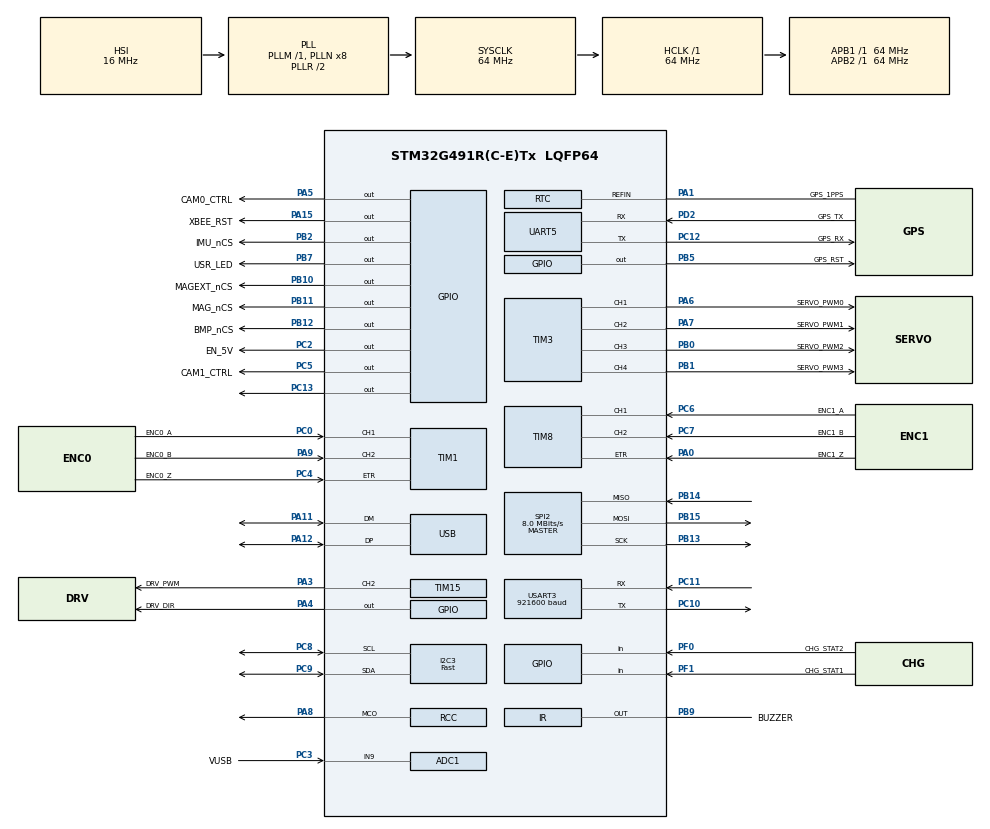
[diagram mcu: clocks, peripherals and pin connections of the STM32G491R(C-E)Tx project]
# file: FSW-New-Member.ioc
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ADC1.Channel-1\#ChannelRegularConversion=ADC_CHANNEL_9
ADC1.NbrOfConversionFlag=1
ADC1.OffsetNumber-1\#ChannelRegularConversion=ADC_OFFSET_NONE
ADC1.Rank-1\#ChannelRegularConversion=1
ADC1.SamplingTime-1\#ChannelRegularConversion=ADC_SAMPLETIME_2CYCLES_5
ADC1.master=1
FREERTOS.BinarySemaphores01=globalData,Dynamic,NULL,Available
FREERTOS.Tasks01=readSensors,0,512,StartReadSensors,Default,NULL,Dynamic,NULL,NULL;Comms,-3,512,StartComms,Default,NULL,Dynamic,NULL,NULL
FREERTOS.configMINIMAL_STACK_SIZE=128
FREERTOS.configTOTAL_HEAP_SIZE=5200
I2C3.I2C_Speed_Mode=I2C_Fast
I2C3.Timing=0x00C12166
Mcu.Family=STM32G4
Mcu.Name=STM32G491R(C-E)Tx
Mcu.Package=LQFP64
Mcu.UserConstants=T4_PRE,7199;T4_CNT,9999;PWM_1,4999;CONST,1
NVIC.PriorityGroup=NVIC_PRIORITYGROUP_4
NVIC.TIM6_DAC_IRQn=true\:15\:0\:false\:false\:true\:false\:false\:true\:true
NVIC.TimeBase=TIM6_DAC_IRQn
NVIC.TimeBaseIP=TIM6
NVIC.USART3_IRQn=true\:14\:0\:true\:false\:true\:true\:true\:true\:true
NVIC.USB_LP_IRQn=true\:5\:0\:false\:false\:true\:true\:false\:true\:true
PA0.GPIO_Label=ENC1_Z
PA0.Signal=S_TIM8_ETR
PA1.GPIO_Label=GPS_1PPS
PA1.Mode=Reference_Clock_Detection_Activate
PA1.Signal=RTC_REFIN
PA11.Mode=Device
PA11.Signal=USB_DM
PA12.Mode=Device
PA12.Signal=USB_DP
PA13.GPIO_Label=SWDIO
PA13.Mode=Trace_Asynchronous_SW
PA13.Signal=SYS_JTMS-SWDIO
PA14.GPIO_Label=SWCLK
PA14.Mode=Trace_Asynchronous_SW
PA14.Signal=SYS_JTCK-SWCLK
PA15.GPIO_Label=XBEE_RST
PA15.Signal=GPIO_Output
PA2.GPIO_Label=CLK_32K
PA2.Mode=Clock-out-LSCO
PA2.Signal=RCC_LSCO
PA3.GPIO_Label=DRV_PWM
PA3.Signal=S_TIM15_CH2
PA4.GPIO_Label=DRV_DIR
PA4.Signal=GPIO_Output
PA5.GPIO_Label=CAM0_CTRL
PA5.Signal=GPIO_Output
PA6.GPIO_Label=SERVO_PWM0
PA6.Signal=S_TIM3_CH1
PA7.GPIO_Label=SERVO_PWM1
PA7.Signal=S_TIM3_CH2
PA8.Mode=Clock-out
PA8.Signal=RCC_MCO
PA9.GPIO_Label=ENC0_B
PA9.Signal=S_TIM1_CH2
PB0.GPIO_Label=SERVO_PWM2
PB0.Signal=S_TIM3_CH3
PB1.GPIO_Label=SERVO_PWM3
PB1.Signal=S_TIM3_CH4
PB10.GPIO_Label=MAGEXT_nCS
PB10.Signal=GPIO_Output
PB11.GPIO_Label=MAG_nCS
PB11.Signal=GPIO_Output
PB12.GPIO_Label=BMP_nCS
PB12.Signal=GPIO_Output
PB13.Mode=Full_Duplex_Master
PB13.Signal=SPI2_SCK
PB14.Mode=Full_Duplex_Master
PB14.Signal=SPI2_MISO
PB15.Mode=Full_Duplex_Master
PB15.Signal=SPI2_MOSI
PB2.GPIO_Label=IMU_nCS
PB2.Signal=GPIO_Output
PB3.GPIO_Label=SWO
PB3.Mode=Trace_Asynchronous_SW
PB3.Signal=SYS_JTDO-SWO
PB4.Signal=UCPD1_CC2
PB5.GPIO_Label=GPS_RST
PB5.GPIO_ModeDefaultOutputPP=GPIO_MODE_OUTPUT_OD
PB5.GPIO_PuPd=GPIO_NOPULL
PB5.Signal=GPIO_Output
PB6.Signal=UCPD1_CC1
PB7.GPIO_Label=USR_LED
PB7.Signal=GPIO_Output
PB9.GPIO_FM9=SYSCFG_FASTMODEPLUS_PB9
PB9.GPIO_Label=BUZZER
PB9.Mode=INFRARED
PB9.Signal=IR_OUT
PC0.GPIO_Label=ENC0_A
PC0.Signal=S_TIM1_CH1
PC10.Mode=Asynchronous
PC10.Signal=USART3_TX
PC11.Mode=Asynchronous
PC11.Signal=USART3_RX
PC12.GPIO_Label=GPS_RX
PC12.Mode=Asynchronous
PC12.Signal=UART5_TX
PC13.Signal=GPIO_Output
PC14-OSC32_IN.GPIO_Label=OSC32_IN
PC14-OSC32_IN.Mode=LSE-External-Oscillator
PC14-OSC32_IN.Signal=RCC_OSC32_IN
PC15-OSC32_OUT.GPIO_Label=OSC32_OUT
PC15-OSC32_OUT.Mode=LSE-External-Oscillator
PC15-OSC32_OUT.Signal=RCC_OSC32_OUT
PC2.GPIO_Label=EN_5V
PC2.Signal=GPIO_Output
PC3.GPIO_Label=VUSB
PC3.Mode=IN9-Single-Ended
PC3.Signal=ADC1_IN9
PC4.GPIO_Label=ENC0_Z
PC4.Signal=S_TIM1_ETR
PC5.GPIO_Label=CAM1_CTRL
PC5.Signal=GPIO_Output
PC6.GPIO_Label=ENC1_A
PC6.Signal=S_TIM8_CH1
PC7.GPIO_Label=ENC1_B
PC7.Signal=S_TIM8_CH2
PC8.Mode=I2C
PC8.Signal=I2C3_SCL
PC9.Mode=I2C
PC9.Signal=I2C3_SDA
PD2.GPIO_Label=GPS_TX
PD2.Mode=Asynchronous
PD2.Signal=UART5_RX
PF0-OSC_IN.GPIO_Label=CHG_STAT2
PF0-OSC_IN.Signal=GPIO_Input
PF1-OSC_OUT.GPIO_Label=CHG_STAT1
PF1-OSC_OUT.Signal=GPIO_Input
ProjectManager.HeapSize=0xF00
ProjectManager.StackSize=0x600
ProjectManager.TargetToolchain=STM32CubeIDE
RCC.ADC12Freq_Value=64000000
RCC.ADC345Freq_Value=64000000
RCC.AHBFreq_Value=64000000
RCC.APB1Freq_Value=64000000
RCC.APB1TimFreq_Value=64000000
RCC.APB2Freq_Value=64000000
RCC.APB2TimFreq_Value=64000000
RCC.CortexFreq_Value=64000000
RCC.EXTERNAL_CLOCK_VALUE=12288000
RCC.HCLKFreq_Value=64000000
RCC.HSE_VALUE=8000000
RCC.HSI48_VALUE=48000000
RCC.HSI_VALUE=16000000
RCC.LSCOSource1=RCC_LSCOSOURCE_LSE
RCC.SYSCLKFreq_VALUE=64000000
RCC.SYSCLKSource=RCC_SYSCLKSOURCE_PLLCLK
RCC.USBFreq_Value=48000000
RCC.VCOOutputFreq_Value=128000000
SH.S_TIM15_CH2.0=TIM15_CH2,PWM Generation2 CH2
SH.S_TIM1_CH1.0=TIM1_CH1,Encoder_Interface_w_index
SH.S_TIM1_CH2.0=TIM1_CH2,Encoder_Interface_w_index
SH.S_TIM1_ETR.0=TIM1_ETR,Encoder_Interface_w_index
SH.S_TIM3_CH1.0=TIM3_CH1,PWM Generation1 CH1
SH.S_TIM3_CH2.0=TIM3_CH2,PWM Generation2 CH2
SH.S_TIM3_CH3.0=TIM3_CH3,PWM Generation3 CH3
SH.S_TIM3_CH4.0=TIM3_CH4,PWM Generation4 CH4
SH.S_TIM8_CH1.0=TIM8_CH1,Encoder_Interface_w_index
SH.S_TIM8_CH2.0=TIM8_CH2,Encoder_Interface_w_index
SH.S_TIM8_ETR.0=TIM8_ETR,Encoder_Interface_w_index
SPI2.BaudRatePrescaler=SPI_BAUDRATEPRESCALER_8
SPI2.CalculateBaudRate=8.0 MBits/s
SPI2.DataSize=SPI_DATASIZE_8BIT
SPI2.Direction=SPI_DIRECTION_2LINES
SPI2.Mode=SPI_MODE_MASTER
SPI2.VirtualType=VM_MASTER
TIM15.Channel-PWM\ Generation2\ CH2=TIM_CHANNEL_2
TIM16.Channel=TIM_CHANNEL_1
TIM17.Channel=TIM_CHANNEL_1
TIM3.Channel-PWM\ Generation1\ CH1=TIM_CHANNEL_1
TIM3.Channel-PWM\ Generation2\ CH2=TIM_CHANNEL_2
TIM3.Channel-PWM\ Generation3\ CH3=TIM_CHANNEL_3
TIM3.Channel-PWM\ Generation4\ CH4=TIM_CHANNEL_4
USART3.BaudRate=921600
USART3.VirtualMode-Asynchronous=VM_ASYNC
USB.battery_charging_enable=ENABLE
USB_DEVICE.CLASS_NAME_FS=DFU
USB_DEVICE.VirtualMode=Dfu
USB_DEVICE.VirtualModeFS=Dfu_FS
USB_Device.BSP.number=1
USB_Device0.BSP.STBoard=false
USB_Device0.BSP.api=Unknown
USB_Device0.BSP.condition=SEM_BCD_ENABLED
USB_Device0.BSP.instance=PF1-OSC_OUT
USB_Device0.BSP.ip=GPIO
USB_Device0.BSP.mode=Input
USB_Device0.BSP.name=BCD Detection
USB_Device0.BSP.solution=PF1-OSC_OUT
VP_ADC1_TempSens_Input.Mode=IN-TempSens
VP_ADC1_Vbat_Input.Mode=IN-Vbat
VP_ADC1_Vref_Input.Mode=IN-Vrefint
VP_CORDIC_VS_CORDIC.Mode=CORDIC_Activate
VP_FMAC_VS_FMAC.Mode=FMAC_Activate
VP_FREERTOS_VS_CMSIS_V1.Mode=CMSIS_V1
VP_RCC_VS_LSE.Mode=CRS SYNC Source LSE
VP_RNG_VS_RNG.Mode=RNG_Activate
VP_RTC_VS_RTC_Activate.Mode=RTC_Enabled
VP_SYS_VS_DBSignals.Mode=DisableDeadBatterySignals
VP_SYS_VS_tim6.Mode=TIM6
VP_SYS_V_PVD_IN.Mode=Mode_PVD_Int
VP_SYS_V_VREFBUF.Mode=ExternalMode
VP_TIM16_VS_ClockSourceINT.Mode=Enable_Timer
VP_TIM16_VS_no_output1.Mode=PWM Generation1 No Output
VP_TIM17_VS_ClockSourceINT.Mode=Enable_Timer
VP_TIM17_VS_no_output1.Mode=PWM Generation1 No Output
VP_TIM3_VS_ClockSourceINT.Mode=Internal
VP_USB_DEVICE_VS_USB_DEVICE_DFU_FS.Mode=DFU_FS
board=custom

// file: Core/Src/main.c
/* USER CODE BEGIN Header */
/**
 ******************************************************************************
 * @file           : main.c
 * @brief          : Main program body
 ******************************************************************************
 * @attention
 *
 * Copyright (c) 2025 STMicroelectronics.
 * All rights reserved.
 *
 * This software is licensed under terms that can be found in the LICENSE file
 * in the root directory of this software component.
 * If no LICENSE file comes with this software, it is provided AS-IS.
 *
 ******************************************************************************
 */
/* USER CODE END Header */
#include "main.h"
#include "cmsis_os.h"
#include "usb_device.h"

/* USER CODE BEGIN Includes */
#include "global.h"
// #include "commands.h"
#include "uart_interrupt.h"

#include "../../Drivers/MS5607/MS5607SPI.h"
#include "../../Drivers/BMM150/BMM150SPI.h"
#include "../../Drivers/LC76G/LC76G.h"
#include "../../Drivers/AMT10E2/AMT10E2.h"
#include "../../Drivers/BQ28Z610/BQ28Z610I2C.h"
#include "../../Drivers/DRV8838/DRV8838.h"

/* USER CODE END Includes */

ADC_HandleTypeDef hadc1;

CORDIC_HandleTypeDef hcordic;

FMAC_HandleTypeDef hfmac;

I2C_HandleTypeDef hi2c3;

RNG_HandleTypeDef hrng;

RTC_HandleTypeDef hrtc;

SPI_HandleTypeDef hspi2;

TIM_HandleTypeDef htim1;
TIM_HandleTypeDef htim3;
TIM_HandleTypeDef htim8;
TIM_HandleTypeDef htim15;
TIM_HandleTypeDef htim16;
TIM_HandleTypeDef htim17;

UART_HandleTypeDef huart5;
UART_HandleTypeDef huart3;

osThreadId readSensorsHandle;
osThreadId CommsHandle;
osSemaphoreId globalDataHandle;

void SystemClock_Config(void);
static void MX_GPIO_Init(void);
static void MX_ADC1_Init(void);
static void MX_I2C3_Init(void);
static void MX_IRTIM_Init(void);
static void MX_RTC_Init(void);
static void MX_SPI2_Init(void);
static void MX_TIM1_Init(void);
static void MX_TIM3_Init(void);
static void MX_TIM8_Init(void);
static void MX_TIM15_Init(void);
static void MX_TIM16_Init(void);
static void MX_TIM17_Init(void);
static void MX_UART5_Init(void);
static void MX_RNG_Init(void);
static void MX_USART3_UART_Init(void);
static void MX_CORDIC_Init(void);
static void MX_FMAC_Init(void);
void StartReadSensors(void const * argument);
void StartComms(void const * argument);

int main(void)
{

  /* MCU Configuration--------------------------------------------------------*/

  /* Reset of all peripherals, Initializes the Flash interface and the Systick. */
  HAL_Init();

  /* Configure the system clock */
  SystemClock_Config();

  /* Initialize all configured peripherals */
  MX_GPIO_Init();
  MX_ADC1_Init();
  MX_I2C3_Init();
  MX_IRTIM_Init();
  MX_RTC_Init();
  MX_SPI2_Init();
  MX_TIM1_Init();
  MX_TIM3_Init();
  MX_TIM8_Init();
  MX_TIM15_Init();
  MX_TIM16_Init();
  MX_TIM17_Init();
  MX_UART5_Init();
  MX_RNG_Init();
  MX_USART3_UART_Init();
  MX_CORDIC_Init();
  MX_FMAC_Init();
  /* USER CODE BEGIN 2 */
  // Feedback LED
  HAL_GPIO_WritePin(USR_LED_GPIO_Port, USR_LED_Pin, GPIO_PIN_SET);

  // Enable GPS and XBEE
  HAL_GPIO_WritePin(XBEE_RST_GPIO_Port, XBEE_RST_Pin, GPIO_PIN_SET);
  HAL_GPIO_WritePin(GPS_RST_GPIO_Port, GPS_RST_Pin, GPIO_PIN_SET);
  HAL_Delay(3000); // wait for the Xbee to get brought back up again

  // Disable ALL chip selects
  HAL_GPIO_WritePin(IMU_nCS_GPIO_Port, IMU_nCS_Pin, GPIO_PIN_SET);
  HAL_GPIO_WritePin(BMP_nCS_GPIO_Port, BMP_nCS_Pin, GPIO_PIN_SET);
  HAL_GPIO_WritePin(MAG_nCS_GPIO_Port, MAG_nCS_Pin, GPIO_PIN_SET);
  HAL_GPIO_WritePin(MAGEXT_nCS_GPIO_Port, MAGEXT_nCS_Pin, GPIO_PIN_SET);

  // Initialize ICM42688P (IMU)
  ICM42688P_init(&hspi2, IMU_nCS_GPIO_Port, IMU_nCS_Pin);

  // Initialize pressure sensor (MS5607)
  MS5607_Init(&hspi2, BMP_nCS_GPIO_Port, BMP_nCS_Pin);

  // Initialize magnetometer (BMM150)
  struct bmm150_dev bmm150 = BMM150_spi_init(&hspi2, MAG_nCS_GPIO_Port, MAG_nCS_Pin);

  // Initialize GPS (LC76G)
  LC76G_init();

  // Initialize quadrature encoder (AMT10E2)
  QENC_Init_Encoder0();

  // drv8838_init(&htim15, DRV_DIR_GPIO_Port, DRV_DIR_Pin);

  /* USER CODE END 2 */

  /* Create the semaphores(s) */
  /* definition and creation of globalData */
  osSemaphoreDef(globalData);
  globalDataHandle = osSemaphoreCreate(osSemaphore(globalData), 1);

  /* Create the thread(s) */
  /* definition and creation of readSensors */
  osThreadDef(readSensors, StartReadSensors, osPriorityNormal, 0, 512);
  readSensorsHandle = osThreadCreate(osThread(readSensors), NULL);

  /* definition and creation of Comms */
  osThreadDef(Comms, StartComms, osPriorityIdle, 0, 512);
  CommsHandle = osThreadCreate(osThread(Comms), NULL);

  /* Start scheduler */
  osKernelStart();

  /* We should never get here as control is now taken by the scheduler */

  /* Infinite loop */
  while (1)
  {

  }
}

void SystemClock_Config(void)
{
  RCC_OscInitTypeDef RCC_OscInitStruct = {0};
  RCC_ClkInitTypeDef RCC_ClkInitStruct = {0};
  RCC_CRSInitTypeDef pInit = {0};

  /** Configure the main internal regulator output voltage
  */
  HAL_PWREx_ControlVoltageScaling(PWR_REGULATOR_VOLTAGE_SCALE1);

  /** Configure LSE Drive Capability
  */
  HAL_PWR_EnableBkUpAccess();
  __HAL_RCC_LSEDRIVE_CONFIG(RCC_LSEDRIVE_LOW);

  /** Initializes the RCC Oscillators according to the specified parameters
  * in the RCC_OscInitTypeDef structure.
  */
  RCC_OscInitStruct.OscillatorType = RCC_OSCILLATORTYPE_HSI|RCC_OSCILLATORTYPE_HSI48
                              |RCC_OSCILLATORTYPE_LSI|RCC_OSCILLATORTYPE_LSE;
  RCC_OscInitStruct.LSEState = RCC_LSE_ON;
  RCC_OscInitStruct.HSIState = RCC_HSI_ON;
  RCC_OscInitStruct.HSICalibrationValue = RCC_HSICALIBRATION_DEFAULT;
  RCC_OscInitStruct.LSIState = RCC_LSI_ON;
  RCC_OscInitStruct.HSI48State = RCC_HSI48_ON;
  RCC_OscInitStruct.PLL.PLLState = RCC_PLL_ON;
  RCC_OscInitStruct.PLL.PLLSource = RCC_PLLSOURCE_HSI;
  RCC_OscInitStruct.PLL.PLLM = RCC_PLLM_DIV1;
  RCC_OscInitStruct.PLL.PLLN = 8;
  RCC_OscInitStruct.PLL.PLLP = RCC_PLLP_DIV2;
  RCC_OscInitStruct.PLL.PLLQ = RCC_PLLQ_DIV2;
  RCC_OscInitStruct.PLL.PLLR = RCC_PLLR_DIV2;
  if (HAL_RCC_OscConfig(&RCC_OscInitStruct) != HAL_OK)
  {
    Error_Handler();
  }

  /** Initializes the CPU, AHB and APB buses clocks
  */
  RCC_ClkInitStruct.ClockType = RCC_CLOCKTYPE_HCLK|RCC_CLOCKTYPE_SYSCLK
                              |RCC_CLOCKTYPE_PCLK1|RCC_CLOCKTYPE_PCLK2;
  RCC_ClkInitStruct.SYSCLKSource = RCC_SYSCLKSOURCE_PLLCLK;
  RCC_ClkInitStruct.AHBCLKDivider = RCC_SYSCLK_DIV1;
  RCC_ClkInitStruct.APB1CLKDivider = RCC_HCLK_DIV1;
  RCC_ClkInitStruct.APB2CLKDivider = RCC_HCLK_DIV1;

  if (HAL_RCC_ClockConfig(&RCC_ClkInitStruct, FLASH_LATENCY_2) != HAL_OK)
  {
    Error_Handler();
  }
  HAL_RCC_MCOConfig(RCC_MCO1, RCC_MCO1SOURCE_HSI, RCC_MCODIV_1);
  HAL_RCCEx_EnableLSCO(RCC_LSCOSOURCE_LSE);

  /** Enable the SYSCFG APB clock
  */
  __HAL_RCC_CRS_CLK_ENABLE();

  /** Configures CRS
  */
  pInit.Prescaler = RCC_CRS_SYNC_DIV1;
  pInit.Source = RCC_CRS_SYNC_SOURCE_LSE;
  pInit.Polarity = RCC_CRS_SYNC_POLARITY_RISING;
  pInit.ReloadValue = __HAL_RCC_CRS_RELOADVALUE_CALCULATE(48000000,32768);
  pInit.ErrorLimitValue = 34;
  pInit.HSI48CalibrationValue = 32;

  HAL_RCCEx_CRSConfig(&pInit);
}

static void MX_ADC1_Init(void)
{

  ADC_MultiModeTypeDef multimode = {0};
  ADC_ChannelConfTypeDef sConfig = {0};

  /** Common config
  */
  hadc1.Instance = ADC1;
  hadc1.Init.ClockPrescaler = ADC_CLOCK_SYNC_PCLK_DIV2;
  hadc1.Init.Resolution = ADC_RESOLUTION_12B;
  hadc1.Init.DataAlign = ADC_DATAALIGN_RIGHT;
  hadc1.Init.GainCompensation = 0;
  hadc1.Init.ScanConvMode = ADC_SCAN_DISABLE;
  hadc1.Init.EOCSelection = ADC_EOC_SINGLE_CONV;
  hadc1.Init.LowPowerAutoWait = DISABLE;
  hadc1.Init.ContinuousConvMode = DISABLE;
  hadc1.Init.NbrOfConversion = 1;
  hadc1.Init.DiscontinuousConvMode = DISABLE;
  hadc1.Init.ExternalTrigConv = ADC_SOFTWARE_START;
  hadc1.Init.ExternalTrigConvEdge = ADC_EXTERNALTRIGCONVEDGE_NONE;
  hadc1.Init.DMAContinuousRequests = DISABLE;
  hadc1.Init.Overrun = ADC_OVR_DATA_PRESERVED;
  hadc1.Init.OversamplingMode = DISABLE;
  if (HAL_ADC_Init(&hadc1) != HAL_OK)
  {
    Error_Handler();
  }

  /** Configure the ADC multi-mode
  */
  multimode.Mode = ADC_MODE_INDEPENDENT;
  if (HAL_ADCEx_MultiModeConfigChannel(&hadc1, &multimode) != HAL_OK)
  {
    Error_Handler();
  }

  /** Configure Regular Channel
  */
  sConfig.Channel = ADC_CHANNEL_9;
  sConfig.Rank = ADC_REGULAR_RANK_1;
  sConfig.SamplingTime = ADC_SAMPLETIME_2CYCLES_5;
  sConfig.SingleDiff = ADC_SINGLE_ENDED;
  sConfig.OffsetNumber = ADC_OFFSET_NONE;
  sConfig.Offset = 0;
  if (HAL_ADC_ConfigChannel(&hadc1, &sConfig) != HAL_OK)
  {
    Error_Handler();
  }

}

static void MX_CORDIC_Init(void)
{

  hcordic.Instance = CORDIC;
  if (HAL_CORDIC_Init(&hcordic) != HAL_OK)
  {
    Error_Handler();
  }

}

static void MX_FMAC_Init(void)
{

  hfmac.Instance = FMAC;
  if (HAL_FMAC_Init(&hfmac) != HAL_OK)
  {
    Error_Handler();
  }

}

static void MX_I2C3_Init(void)
{

  hi2c3.Instance = I2C3;
  hi2c3.Init.Timing = 0x00C12166;
  hi2c3.Init.OwnAddress1 = 0;
  hi2c3.Init.AddressingMode = I2C_ADDRESSINGMODE_7BIT;
  hi2c3.Init.DualAddressMode = I2C_DUALADDRESS_DISABLE;
  hi2c3.Init.OwnAddress2 = 0;
  hi2c3.Init.OwnAddress2Masks = I2C_OA2_NOMASK;
  hi2c3.Init.GeneralCallMode = I2C_GENERALCALL_DISABLE;
  hi2c3.Init.NoStretchMode = I2C_NOSTRETCH_DISABLE;
  if (HAL_I2C_Init(&hi2c3) != HAL_OK)
  {
    Error_Handler();
  }

  /** Configure Analogue filter
  */
  if (HAL_I2CEx_ConfigAnalogFilter(&hi2c3, I2C_ANALOGFILTER_ENABLE) != HAL_OK)
  {
    Error_Handler();
  }

  /** Configure Digital filter
  */
  if (HAL_I2CEx_ConfigDigitalFilter(&hi2c3, 0) != HAL_OK)
  {
    Error_Handler();
  }

}

static void MX_IRTIM_Init(void)
{

}

static void MX_RNG_Init(void)
{

  hrng.Instance = RNG;
  hrng.Init.ClockErrorDetection = RNG_CED_ENABLE;
  if (HAL_RNG_Init(&hrng) != HAL_OK)
  {
    Error_Handler();
  }

}

static void MX_RTC_Init(void)
{

  /** Initialize RTC Only
  */
  hrtc.Instance = RTC;
  hrtc.Init.HourFormat = RTC_HOURFORMAT_24;
  hrtc.Init.AsynchPrediv = 127;
  hrtc.Init.SynchPrediv = 255;
  hrtc.Init.OutPut = RTC_OUTPUT_DISABLE;
  hrtc.Init.OutPutRemap = RTC_OUTPUT_REMAP_NONE;
  hrtc.Init.OutPutPolarity = RTC_OUTPUT_POLARITY_HIGH;
  hrtc.Init.OutPutType = RTC_OUTPUT_TYPE_OPENDRAIN;
  hrtc.Init.OutPutPullUp = RTC_OUTPUT_PULLUP_NONE;
  if (HAL_RTC_Init(&hrtc) != HAL_OK)
  {
    Error_Handler();
  }

  /** Enable the reference Clock input
  */
  if (HAL_RTCEx_SetRefClock(&hrtc) != HAL_OK)
  {
    Error_Handler();
  }

}

static void MX_SPI2_Init(void)
{

  /* SPI2 parameter configuration*/
  hspi2.Instance = SPI2;
  hspi2.Init.Mode = SPI_MODE_MASTER;
  hspi2.Init.Direction = SPI_DIRECTION_2LINES;
  hspi2.Init.DataSize = SPI_DATASIZE_8BIT;
  hspi2.Init.CLKPolarity = SPI_POLARITY_LOW;
  hspi2.Init.CLKPhase = SPI_PHASE_1EDGE;
  hspi2.Init.NSS = SPI_NSS_SOFT;
  hspi2.Init.BaudRatePrescaler = SPI_BAUDRATEPRESCALER_8;
  hspi2.Init.FirstBit = SPI_FIRSTBIT_MSB;
  hspi2.Init.TIMode = SPI_TIMODE_DISABLE;
  hspi2.Init.CRCCalculation = SPI_CRCCALCULATION_DISABLE;
  hspi2.Init.CRCPolynomial = 7;
  hspi2.Init.CRCLength = SPI_CRC_LENGTH_DATASIZE;
  hspi2.Init.NSSPMode = SPI_NSS_PULSE_ENABLE;
  if (HAL_SPI_Init(&hspi2) != HAL_OK)
  {
    Error_Handler();
  }

}

static void MX_TIM1_Init(void)
{

  TIM_Encoder_InitTypeDef sConfig = {0};
  TIM_MasterConfigTypeDef sMasterConfig = {0};
  TIMEx_EncoderIndexConfigTypeDef sEncoderIndexConfig = {0};

  htim1.Instance = TIM1;
  htim1.Init.Prescaler = 0;
  htim1.Init.CounterMode = TIM_COUNTERMODE_UP;
  htim1.Init.Period = 65535;
  htim1.Init.ClockDivision = TIM_CLOCKDIVISION_DIV1;
  htim1.Init.RepetitionCounter = 0;
  htim1.Init.AutoReloadPreload = TIM_AUTORELOAD_PRELOAD_DISABLE;
  sConfig.EncoderMode = TIM_ENCODERMODE_TI1;
  sConfig.IC1Polarity = TIM_ICPOLARITY_RISING;
  sConfig.IC1Selection = TIM_ICSELECTION_DIRECTTI;
  sConfig.IC1Prescaler = TIM_ICPSC_DIV1;
  sConfig.IC1Filter = 0;
  sConfig.IC2Polarity = TIM_ICPOLARITY_RISING;
  sConfig.IC2Selection = TIM_ICSELECTION_DIRECTTI;
  sConfig.IC2Prescaler = TIM_ICPSC_DIV1;
  sConfig.IC2Filter = 0;
  if (HAL_TIM_Encoder_Init(&htim1, &sConfig) != HAL_OK)
  {
    Error_Handler();
  }
  sMasterConfig.MasterOutputTrigger = TIM_TRGO_RESET;
  sMasterConfig.MasterOutputTrigger2 = TIM_TRGO2_RESET;
  sMasterConfig.MasterSlaveMode = TIM_MASTERSLAVEMODE_DISABLE;
  if (HAL_TIMEx_MasterConfigSynchronization(&htim1, &sMasterConfig) != HAL_OK)
  {
    Error_Handler();
  }
  sEncoderIndexConfig.Polarity = TIM_ENCODERINDEX_POLARITY_NONINVERTED;
  sEncoderIndexConfig.Prescaler = TIM_ENCODERINDEX_PRESCALER_DIV1;
  sEncoderIndexConfig.Filter = 0;
  sEncoderIndexConfig.FirstIndexEnable = DISABLE;
  sEncoderIndexConfig.Position = TIM_ENCODERINDEX_POSITION_00;
  sEncoderIndexConfig.Direction = TIM_ENCODERINDEX_DIRECTION_UP_DOWN;
  if (HAL_TIMEx_ConfigEncoderIndex(&htim1, &sEncoderIndexConfig) != HAL_OK)
  {
    Error_Handler();
  }

}

static void MX_TIM3_Init(void)
{

  TIM_ClockConfigTypeDef sClockSourceConfig = {0};
  TIM_MasterConfigTypeDef sMasterConfig = {0};
  TIM_OC_InitTypeDef sConfigOC = {0};

  htim3.Instance = TIM3;
  htim3.Init.Prescaler = 0;
  htim3.Init.CounterMode = TIM_COUNTERMODE_UP;
  htim3.Init.Period = 65535;
  htim3.Init.ClockDivision = TIM_CLOCKDIVISION_DIV1;
  htim3.Init.AutoReloadPreload = TIM_AUTORELOAD_PRELOAD_DISABLE;
  if (HAL_TIM_Base_Init(&htim3) != HAL_OK)
  {
    Error_Handler();
  }
  sClockSourceConfig.ClockSource = TIM_CLOCKSOURCE_INTERNAL;
  if (HAL_TIM_ConfigClockSource(&htim3, &sClockSourceConfig) != HAL_OK)
  {
    Error_Handler();
  }
  if (HAL_TIM_PWM_Init(&htim3) != HAL_OK)
  {
    Error_Handler();
  }
  sMasterConfig.MasterOutputTrigger = TIM_TRGO_RESET;
  sMasterConfig.MasterSlaveMode = TIM_MASTERSLAVEMODE_DISABLE;
  if (HAL_TIMEx_MasterConfigSynchronization(&htim3, &sMasterConfig) != HAL_OK)
  {
    Error_Handler();
  }
  sConfigOC.OCMode = TIM_OCMODE_PWM1;
  sConfigOC.Pulse = 0;
  sConfigOC.OCPolarity = TIM_OCPOLARITY_HIGH;
  sConfigOC.OCFastMode = TIM_OCFAST_DISABLE;
  if (HAL_TIM_PWM_ConfigChannel(&htim3, &sConfigOC, TIM_CHANNEL_1) != HAL_OK)
  {
    Error_Handler();
  }
  if (HAL_TIM_PWM_ConfigChannel(&htim3, &sConfigOC, TIM_CHANNEL_2) != HAL_OK)
  {
    Error_Handler();
  }
  if (HAL_TIM_PWM_ConfigChannel(&htim3, &sConfigOC, TIM_CHANNEL_3) != HAL_OK)
  {
    Error_Handler();
  }
  if (HAL_TIM_PWM_ConfigChannel(&htim3, &sConfigOC, TIM_CHANNEL_4) != HAL_OK)
  {
    Error_Handler();
  }
  HAL_TIM_MspPostInit(&htim3);

}

static void MX_TIM8_Init(void)
{

  TIM_Encoder_InitTypeDef sConfig = {0};
  TIM_MasterConfigTypeDef sMasterConfig = {0};
  TIMEx_EncoderIndexConfigTypeDef sEncoderIndexConfig = {0};

  htim8.Instance = TIM8;
  htim8.Init.Prescaler = 0;
  htim8.Init.CounterMode = TIM_COUNTERMODE_UP;
  htim8.Init.Period = 65535;
  htim8.Init.ClockDivision = TIM_CLOCKDIVISION_DIV1;
  htim8.Init.RepetitionCounter = 0;
  htim8.Init.AutoReloadPreload = TIM_AUTORELOAD_PRELOAD_DISABLE;
  sConfig.EncoderMode = TIM_ENCODERMODE_TI1;
  sConfig.IC1Polarity = TIM_ICPOLARITY_RISING;
  sConfig.IC1Selection = TIM_ICSELECTION_DIRECTTI;
  sConfig.IC1Prescaler = TIM_ICPSC_DIV1;
  sConfig.IC1Filter = 0;
  sConfig.IC2Polarity = TIM_ICPOLARITY_RISING;
  sConfig.IC2Selection = TIM_ICSELECTION_DIRECTTI;
  sConfig.IC2Prescaler = TIM_ICPSC_DIV1;
  sConfig.IC2Filter = 0;
  if (HAL_TIM_Encoder_Init(&htim8, &sConfig) != HAL_OK)
  {
    Error_Handler();
  }
  sMasterConfig.MasterOutputTrigger = TIM_TRGO_RESET;
  sMasterConfig.MasterOutputTrigger2 = TIM_TRGO2_RESET;
  sMasterConfig.MasterSlaveMode = TIM_MASTERSLAVEMODE_DISABLE;
  if (HAL_TIMEx_MasterConfigSynchronization(&htim8, &sMasterConfig) != HAL_OK)
  {
    Error_Handler();
  }
  sEncoderIndexConfig.Polarity = TIM_ENCODERINDEX_POLARITY_NONINVERTED;
  sEncoderIndexConfig.Prescaler = TIM_ENCODERINDEX_PRESCALER_DIV1;
  sEncoderIndexConfig.Filter = 0;
  sEncoderIndexConfig.FirstIndexEnable = DISABLE;
  sEncoderIndexConfig.Position = TIM_ENCODERINDEX_POSITION_00;
  sEncoderIndexConfig.Direction = TIM_ENCODERINDEX_DIRECTION_UP_DOWN;
  if (HAL_TIMEx_ConfigEncoderIndex(&htim8, &sEncoderIndexConfig) != HAL_OK)
  {
    Error_Handler();
  }

}

static void MX_TIM15_Init(void)
{

  TIM_MasterConfigTypeDef sMasterConfig = {0};
  TIM_OC_InitTypeDef sConfigOC = {0};
  TIM_BreakDeadTimeConfigTypeDef sBreakDeadTimeConfig = {0};

  htim15.Instance = TIM15;
  htim15.Init.Prescaler = 0;
  htim15.Init.CounterMode = TIM_COUNTERMODE_UP;
  htim15.Init.Period = 65535;
  htim15.Init.ClockDivision = TIM_CLOCKDIVISION_DIV1;
  htim15.Init.RepetitionCounter = 0;
  htim15.Init.AutoReloadPreload = TIM_AUTORELOAD_PRELOAD_DISABLE;
  if (HAL_TIM_PWM_Init(&htim15) != HAL_OK)
  {
    Error_Handler();
  }
  sMasterConfig.MasterOutputTrigger = TIM_TRGO_RESET;
  sMasterConfig.MasterSlaveMode = TIM_MASTERSLAVEMODE_DISABLE;
  if (HAL_TIMEx_MasterConfigSynchronization(&htim15, &sMasterConfig) != HAL_OK)
  {
    Error_Handler();
  }
  sConfigOC.OCMode = TIM_OCMODE_PWM1;
  sConfigOC.Pulse = 0;
  sConfigOC.OCPolarity = TIM_OCPOLARITY_HIGH;
  sConfigOC.OCNPolarity = TIM_OCNPOLARITY_HIGH;
  sConfigOC.OCFastMode = TIM_OCFAST_DISABLE;
  sConfigOC.OCIdleState = TIM_OCIDLESTATE_RESET;
  sConfigOC.OCNIdleState = TIM_OCNIDLESTATE_RESET;
  if (HAL_TIM_PWM_ConfigChannel(&htim15, &sConfigOC, TIM_CHANNEL_2) != HAL_OK)
  {
    Error_Handler();
  }
  sBreakDeadTimeConfig.OffStateRunMode = TIM_OSSR_DISABLE;
  sBreakDeadTimeConfig.OffStateIDLEMode = TIM_OSSI_DISABLE;
  sBreakDeadTimeConfig.LockLevel = TIM_LOCKLEVEL_OFF;
  sBreakDeadTimeConfig.DeadTime = 0;
  sBreakDeadTimeConfig.BreakState = TIM_BREAK_DISABLE;
  sBreakDeadTimeConfig.BreakPolarity = TIM_BREAKPOLARITY_HIGH;
  sBreakDeadTimeConfig.BreakFilter = 0;
  sBreakDeadTimeConfig.AutomaticOutput = TIM_AUTOMATICOUTPUT_DISABLE;
  if (HAL_TIMEx_ConfigBreakDeadTime(&htim15, &sBreakDeadTimeConfig) != HAL_OK)
  {
    Error_Handler();
  }
  HAL_TIM_MspPostInit(&htim15);

}

static void MX_TIM16_Init(void)
{

  TIM_OC_InitTypeDef sConfigOC = {0};
  TIM_BreakDeadTimeConfigTypeDef sBreakDeadTimeConfig = {0};

  htim16.Instance = TIM16;
  htim16.Init.Prescaler = 0;
  htim16.Init.CounterMode = TIM_COUNTERMODE_UP;
  htim16.Init.Period = 65535;
  htim16.Init.ClockDivision = TIM_CLOCKDIVISION_DIV1;
  htim16.Init.RepetitionCounter = 0;
  htim16.Init.AutoReloadPreload = TIM_AUTORELOAD_PRELOAD_DISABLE;
  if (HAL_TIM_Base_Init(&htim16) != HAL_OK)
  {
    Error_Handler();
  }
  if (HAL_TIM_PWM_Init(&htim16) != HAL_OK)
  {
    Error_Handler();
  }
  sConfigOC.OCMode = TIM_OCMODE_PWM1;
  sConfigOC.Pulse = 0;
  sConfigOC.OCPolarity = TIM_OCPOLARITY_HIGH;
  sConfigOC.OCNPolarity = TIM_OCNPOLARITY_HIGH;
  sConfigOC.OCFastMode = TIM_OCFAST_DISABLE;
  sConfigOC.OCIdleState = TIM_OCIDLESTATE_RESET;
  sConfigOC.OCNIdleState = TIM_OCNIDLESTATE_RESET;
  if (HAL_TIM_PWM_ConfigChannel(&htim16, &sConfigOC, TIM_CHANNEL_1) != HAL_OK)
  {
    Error_Handler();
  }
  sBreakDeadTimeConfig.OffStateRunMode = TIM_OSSR_DISABLE;
  sBreakDeadTimeConfig.OffStateIDLEMode = TIM_OSSI_DISABLE;
  sBreakDeadTimeConfig.LockLevel = TIM_LOCKLEVEL_OFF;
  sBreakDeadTimeConfig.DeadTime = 0;
  sBreakDeadTimeConfig.BreakState = TIM_BREAK_DISABLE;
  sBreakDeadTimeConfig.BreakPolarity = TIM_BREAKPOLARITY_HIGH;
  sBreakDeadTimeConfig.BreakFilter = 0;
  sBreakDeadTimeConfig.AutomaticOutput = TIM_AUTOMATICOUTPUT_DISABLE;
  if (HAL_TIMEx_ConfigBreakDeadTime(&htim16, &sBreakDeadTimeConfig) != HAL_OK)
  {
    Error_Handler();
  }

}

static void MX_TIM17_Init(void)
{

  TIM_OC_InitTypeDef sConfigOC = {0};
  TIM_BreakDeadTimeConfigTypeDef sBreakDeadTimeConfig = {0};

  htim17.Instance = TIM17;
  htim17.Init.Prescaler = 0;
  htim17.Init.CounterMode = TIM_COUNTERMODE_UP;
  htim17.Init.Period = 65535;
  htim17.Init.ClockDivision = TIM_CLOCKDIVISION_DIV1;
  htim17.Init.RepetitionCounter = 0;
  htim17.Init.AutoReloadPreload = TIM_AUTORELOAD_PRELOAD_DISABLE;
  if (HAL_TIM_Base_Init(&htim17) != HAL_OK)
  {
    Error_Handler();
  }
  if (HAL_TIM_PWM_Init(&htim17) != HAL_OK)
  {
    Error_Handler();
  }
  sConfigOC.OCMode = TIM_OCMODE_PWM1;
  sConfigOC.Pulse = 0;
  sConfigOC.OCPolarity = TIM_OCPOLARITY_HIGH;
  sConfigOC.OCNPolarity = TIM_OCNPOLARITY_HIGH;
  sConfigOC.OCFastMode = TIM_OCFAST_DISABLE;
  sConfigOC.OCIdleState = TIM_OCIDLESTATE_RESET;
  sConfigOC.OCNIdleState = TIM_OCNIDLESTATE_RESET;
  if (HAL_TIM_PWM_ConfigChannel(&htim17, &sConfigOC, TIM_CHANNEL_1) != HAL_OK)
  {
    Error_Handler();
  }
  sBreakDeadTimeConfig.OffStateRunMode = TIM_OSSR_DISABLE;
  sBreakDeadTimeConfig.OffStateIDLEMode = TIM_OSSI_DISABLE;
  sBreakDeadTimeConfig.LockLevel = TIM_LOCKLEVEL_OFF;
  sBreakDeadTimeConfig.DeadTime = 0;
  sBreakDeadTimeConfig.BreakState = TIM_BREAK_DISABLE;
  sBreakDeadTimeConfig.BreakPolarity = TIM_BREAKPOLARITY_HIGH;
  sBreakDeadTimeConfig.BreakFilter = 0;
  sBreakDeadTimeConfig.AutomaticOutput = TIM_AUTOMATICOUTPUT_DISABLE;
  if (HAL_TIMEx_ConfigBreakDeadTime(&htim17, &sBreakDeadTimeConfig) != HAL_OK)
  {
    Error_Handler();
  }

}

static void MX_UART5_Init(void)
{

  huart5.Instance = UART5;
  huart5.Init.BaudRate = 115200;
  huart5.Init.WordLength = UART_WORDLENGTH_8B;
  huart5.Init.StopBits = UART_STOPBITS_1;
  huart5.Init.Parity = UART_PARITY_NONE;
  huart5.Init.Mode = UART_MODE_TX_RX;
  huart5.Init.HwFlowCtl = UART_HWCONTROL_NONE;
  huart5.Init.OverSampling = UART_OVERSAMPLING_16;
  huart5.Init.OneBitSampling = UART_ONE_BIT_SAMPLE_DISABLE;
  huart5.Init.ClockPrescaler = UART_PRESCALER_DIV1;
  huart5.AdvancedInit.AdvFeatureInit = UART_ADVFEATURE_NO_INIT;
  if (HAL_UART_Init(&huart5) != HAL_OK)
  {
    Error_Handler();
  }
  if (HAL_UARTEx_SetTxFifoThreshold(&huart5, UART_TXFIFO_THRESHOLD_1_8) != HAL_OK)
  {
    Error_Handler();
  }
  if (HAL_UARTEx_SetRxFifoThreshold(&huart5, UART_RXFIFO_THRESHOLD_1_8) != HAL_OK)
  {
    Error_Handler();
  }
  if (HAL_UARTEx_DisableFifoMode(&huart5) != HAL_OK)
  {
    Error_Handler();
  }

}

static void MX_USART3_UART_Init(void)
{

  huart3.Instance = USART3;
  huart3.Init.BaudRate = 921600;
  huart3.Init.WordLength = UART_WORDLENGTH_8B;
  huart3.Init.StopBits = UART_STOPBITS_1;
  huart3.Init.Parity = UART_PARITY_NONE;
  huart3.Init.Mode = UART_MODE_TX_RX;
  huart3.Init.HwFlowCtl = UART_HWCONTROL_NONE;
  huart3.Init.OverSampling = UART_OVERSAMPLING_16;
  huart3.Init.OneBitSampling = UART_ONE_BIT_SAMPLE_DISABLE;
  huart3.Init.ClockPrescaler = UART_PRESCALER_DIV1;
  huart3.AdvancedInit.AdvFeatureInit = UART_ADVFEATURE_NO_INIT;
  if (HAL_UART_Init(&huart3) != HAL_OK)
  {
    Error_Handler();
  }
  if (HAL_UARTEx_SetTxFifoThreshold(&huart3, UART_TXFIFO_THRESHOLD_1_8) != HAL_OK)
  {
    Error_Handler();
  }
  if (HAL_UARTEx_SetRxFifoThreshold(&huart3, UART_RXFIFO_THRESHOLD_1_8) != HAL_OK)
  {
    Error_Handler();
  }
  if (HAL_UARTEx_DisableFifoMode(&huart3) != HAL_OK)
  {
    Error_Handler();
  }

}

static void MX_GPIO_Init(void)
{
  GPIO_InitTypeDef GPIO_InitStruct = {0};

  /* GPIO Ports Clock Enable */
  __HAL_RCC_GPIOC_CLK_ENABLE();
  __HAL_RCC_GPIOF_CLK_ENABLE();
  __HAL_RCC_GPIOA_CLK_ENABLE();
  __HAL_RCC_GPIOB_CLK_ENABLE();
  __HAL_RCC_GPIOD_CLK_ENABLE();

  /*Configure GPIO pin Output Level */
  HAL_GPIO_WritePin(GPIOC, GPIO_PIN_13|EN_5V_Pin|CAM1_CTRL_Pin, GPIO_PIN_RESET);

  /*Configure GPIO pin Output Level */
  HAL_GPIO_WritePin(GPIOA, DRV_DIR_Pin|CAM0_CTRL_Pin|XBEE_RST_Pin, GPIO_PIN_RESET);

  /*Configure GPIO pin Output Level */
  HAL_GPIO_WritePin(GPIOB, IMU_nCS_Pin|MAGEXT_nCS_Pin|MAG_nCS_Pin|BMP_nCS_Pin
                          |GPS_RST_Pin|USR_LED_Pin, GPIO_PIN_RESET);

  /*Configure GPIO pins : PC13 EN_5V_Pin CAM1_CTRL_Pin */
  GPIO_InitStruct.Pin = GPIO_PIN_13|EN_5V_Pin|CAM1_CTRL_Pin;
  GPIO_InitStruct.Mode = GPIO_MODE_OUTPUT_PP;
  GPIO_InitStruct.Pull = GPIO_NOPULL;
  GPIO_InitStruct.Speed = GPIO_SPEED_FREQ_LOW;
  HAL_GPIO_Init(GPIOC, &GPIO_InitStruct);

  /*Configure GPIO pins : CHG_STAT2_Pin CHG_STAT1_Pin */
  GPIO_InitStruct.Pin = CHG_STAT2_Pin|CHG_STAT1_Pin;
  GPIO_InitStruct.Mode = GPIO_MODE_INPUT;
  GPIO_InitStruct.Pull = GPIO_NOPULL;
  HAL_GPIO_Init(GPIOF, &GPIO_InitStruct);

  /*Configure GPIO pin : CLK_32K_Pin */
  GPIO_InitStruct.Pin = CLK_32K_Pin;
  GPIO_InitStruct.Mode = GPIO_MODE_ANALOG;
  GPIO_InitStruct.Pull = GPIO_NOPULL;
  HAL_GPIO_Init(CLK_32K_GPIO_Port, &GPIO_InitStruct);

  /*Configure GPIO pins : DRV_DIR_Pin CAM0_CTRL_Pin XBEE_RST_Pin */
  GPIO_InitStruct.Pin = DRV_DIR_Pin|CAM0_CTRL_Pin|XBEE_RST_Pin;
  GPIO_InitStruct.Mode = GPIO_MODE_OUTPUT_PP;
  GPIO_InitStruct.Pull = GPIO_NOPULL;
  GPIO_InitStruct.Speed = GPIO_SPEED_FREQ_LOW;
  HAL_GPIO_Init(GPIOA, &GPIO_InitStruct);

  /*Configure GPIO pins : IMU_nCS_Pin MAGEXT_nCS_Pin MAG_nCS_Pin BMP_nCS_Pin
                           USR_LED_Pin */
  GPIO_InitStruct.Pin = IMU_nCS_Pin|MAGEXT_nCS_Pin|MAG_nCS_Pin|BMP_nCS_Pin
                          |USR_LED_Pin;
  GPIO_InitStruct.Mode = GPIO_MODE_OUTPUT_PP;
  GPIO_InitStruct.Pull = GPIO_NOPULL;
  GPIO_InitStruct.Speed = GPIO_SPEED_FREQ_LOW;
  HAL_GPIO_Init(GPIOB, &GPIO_InitStruct);

  /*Configure GPIO pin : PA8 */
  GPIO_InitStruct.Pin = GPIO_PIN_8;
  GPIO_InitStruct.Mode = GPIO_MODE_AF_PP;
  GPIO_InitStruct.Pull = GPIO_NOPULL;
  GPIO_InitStruct.Speed = GPIO_SPEED_FREQ_LOW;
  GPIO_InitStruct.Alternate = GPIO_AF0_MCO;
  HAL_GPIO_Init(GPIOA, &GPIO_InitStruct);

  /*Configure GPIO pins : PB4 PB6 */
  GPIO_InitStruct.Pin = GPIO_PIN_4|GPIO_PIN_6;
  GPIO_InitStruct.Mode = GPIO_MODE_ANALOG;
  GPIO_InitStruct.Pull = GPIO_NOPULL;
  HAL_GPIO_Init(GPIOB, &GPIO_InitStruct);

  /*Configure GPIO pin : GPS_RST_Pin */
  GPIO_InitStruct.Pin = GPS_RST_Pin;
  GPIO_InitStruct.Mode = GPIO_MODE_OUTPUT_OD;
  GPIO_InitStruct.Pull = GPIO_NOPULL;
  GPIO_InitStruct.Speed = GPIO_SPEED_FREQ_LOW;
  HAL_GPIO_Init(GPS_RST_GPIO_Port, &GPIO_InitStruct);

  /*Configure GPIO pin : BUZZER_Pin */
  GPIO_InitStruct.Pin = BUZZER_Pin;
  GPIO_InitStruct.Mode = GPIO_MODE_AF_PP;
  GPIO_InitStruct.Pull = GPIO_NOPULL;
  GPIO_InitStruct.Speed = GPIO_SPEED_FREQ_LOW;
  GPIO_InitStruct.Alternate = GPIO_AF6_IR;
  HAL_GPIO_Init(BUZZER_GPIO_Port, &GPIO_InitStruct);

  /**/
  __HAL_SYSCFG_FASTMODEPLUS_ENABLE(SYSCFG_FASTMODEPLUS_PB9);

}

void StartReadSensors(void const * argument)
{
  /* init code for USB_Device */
  MX_USB_Device_Init();
  /* USER CODE BEGIN 5 */
  /* Infinite loop */
  for(;;)
  {
	// TODO: Write code that uses the drivers to set global data values.
    osDelay(1);
  }
  /* USER CODE END 5 */
}

void StartComms(void const * argument)
{
  for(;;)
  {
    osDelay(1);
  }
}

void HAL_TIM_PeriodElapsedCallback(TIM_HandleTypeDef *htim)
{
  if (htim->Instance == TIM6)
  {
    HAL_IncTick();
  }
}

void Error_Handler(void)
{
  __disable_irq();
  while (1)
  {
  }
}
